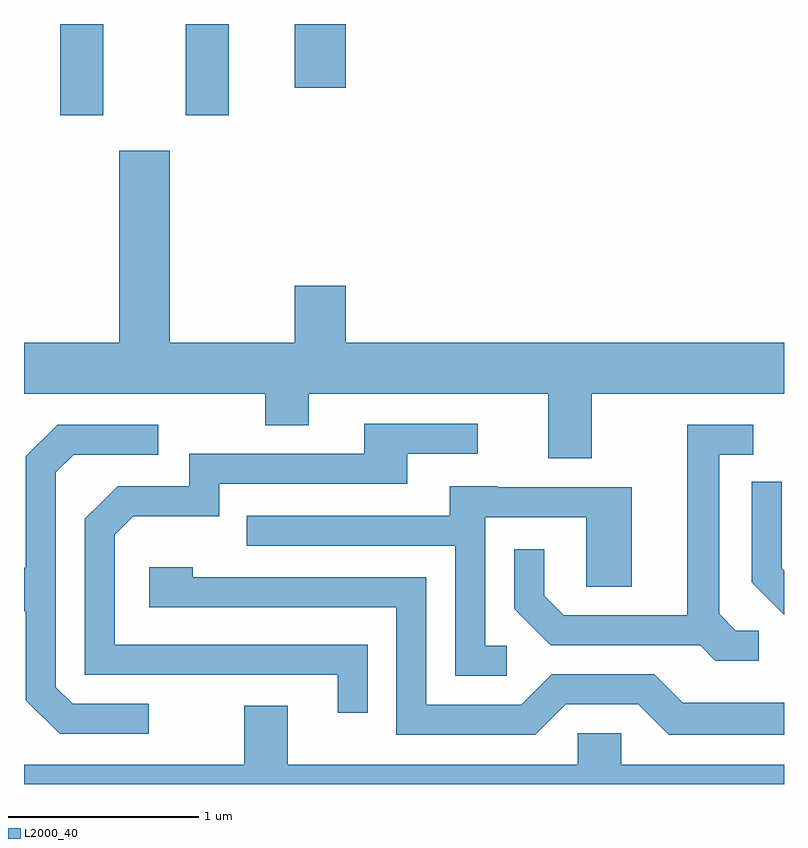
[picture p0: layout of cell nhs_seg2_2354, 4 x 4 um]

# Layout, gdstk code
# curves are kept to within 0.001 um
import gdstk
lib = gdstk.Library(unit=1e-6, precision=1e-09)
def R(c, l, rs):  # rectangles x0, y0, x1, y1
    for r in rs: c.add(gdstk.rectangle(r[:2], r[2:], *l))
def P(c, l, *ps):  # polygons
    for p in ps: c.add(gdstk.Polygon(p, *l))
L2000_40 = (2000, 40)

nhs_seg2_2354 = lib.new_cell('nhs_seg2_2354')
R(nhs_seg2_2354, L2000_40, [(253.801,1065.321,254.029,1065.802), (254.461,1065.321,254.689,1065.802), (255.036,1065.466,255.304,1065.802)])
P(nhs_seg2_2354, L2000_40, [(256.599,1063.856),(257.611,1063.856),(257.611,1064.124),(255.304,1064.124),(255.304,1064.424),(255.036,1064.424),(255.036,1064.124),(254.379,1064.124),(254.379,1065.134),(254.111,1065.134),(254.111,1064.124),(253.611,1064.124),(253.611,1063.856),(254.881,1063.856),(254.881,1063.691),(255.109,1063.691),(255.109,1063.856),(256.371,1063.856),(256.371,1063.516),(256.599,1063.516)],
  [(255.419,1062.534),(254.089,1062.534),(254.089,1063.114),(254.187,1063.211),(254.639,1063.211),(254.639,1063.381),(255.629,1063.381),(255.629,1063.541),(255.998,1063.541),(255.998,1063.699),(255.401,1063.699),(255.401,1063.539),(254.481,1063.539),(254.481,1063.369),(254.104,1063.369),(253.931,1063.197),(253.931,1062.376),(255.261,1062.376),(255.261,1062.178),(255.419,1062.178)],
  [(254.268,1062.224),(253.867,1062.224),(253.779,1062.312),(253.779,1063.444),(253.872,1063.536),(254.318,1063.536),(254.318,1063.694),(253.789,1063.694),(253.621,1063.527),(253.621,1062.939),(253.611,1062.939),(253.611,1062.711),(253.621,1062.711),(253.621,1062.244),(253.799,1062.066),(254.268,1062.066)],
  [(257.478,1062.609),(257.356,1062.609),(257.269,1062.697),(257.269,1063.536),(257.448,1063.536),(257.448,1063.694),(257.101,1063.694),(257.101,1062.689),(256.452,1062.689),(256.349,1062.792),(256.349,1063.038),(256.191,1063.038),(256.191,1062.724),(256.384,1062.531),(257.169,1062.531),(257.248,1062.451),(257.478,1062.451)],
  [(257.611,1062.925),(257.599,1062.937),(257.599,1063.393),(257.441,1063.393),(257.441,1062.864),(257.611,1062.694)],
  [(256.153,1062.529),(256.039,1062.529),(256.039,1063.206),(256.571,1063.206),(256.571,1062.841),(256.809,1062.841),(256.809,1063.364),(256.105,1063.364),(256.105,1063.369),(255.851,1063.369),(255.851,1063.214),(254.783,1063.214),(254.783,1063.056),(255.881,1063.056),(255.881,1062.371),(256.153,1062.371)],
  [(256.462,1062.221),(256.844,1062.221),(257.004,1062.061),(257.611,1062.061),(257.611,1062.229),(257.077,1062.229),(256.927,1062.379),(256.389,1062.379),(256.229,1062.219),(255.729,1062.219),(255.729,1062.889),(254.499,1062.889),(254.499,1062.944),(254.271,1062.944),(254.271,1062.731),(255.571,1062.731),(255.571,1062.061),(256.302,1062.061)],
  [(257.611,1061.904),(256.754,1061.904),(256.754,1062.069),(256.526,1062.069),(256.526,1061.904),(254.999,1061.904),(254.999,1062.214),(254.771,1062.214),(254.771,1061.904),(253.611,1061.904),(253.611,1061.802),(257.611,1061.802)])

lib.write_gds('nhs_seg2_2354.gds')
